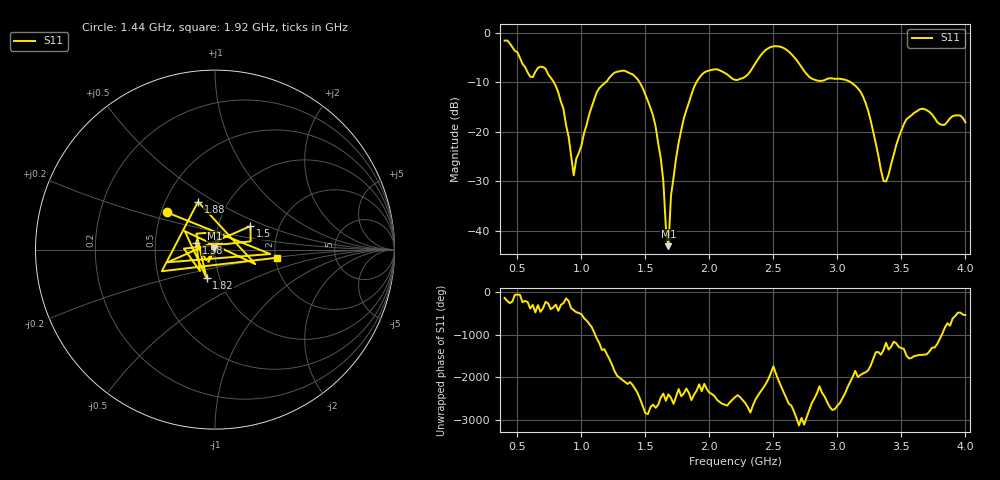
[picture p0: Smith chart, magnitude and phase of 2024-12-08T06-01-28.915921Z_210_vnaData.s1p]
!Created with skrf (http://scikit-rf.org).
# Hz S RI R 50.0
!freq ReS11 ImS11
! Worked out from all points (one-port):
!   181 points, 400 MHz to 4 GHz, reference 50 ohm
!   lowest |S11| = -43.1 dB at 1.68 GHz (marker M1), VSWR 1.01, Z = 49.7 + j0.617 ohm
!   |S11| at or under -10 dB: 784.7 MHz to 1.189 GHz (404 MHz wide, 40.9 % of centre); 1.455 GHz to 1.898 GHz (443.4 MHz wide, 26.4 % of centre); 3.105 GHz to end of sweep
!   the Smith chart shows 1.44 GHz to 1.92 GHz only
!   S11 on the Smith chart (normalised r, x): 1.44 GHz: 0.54, +0.25; 1.5 GHz: 1.43, +0.40; 1.58 GHz: 0.81, +0.06; 1.82 GHz: 0.87, -0.28; 1.88 GHz: 0.72, +0.42; 1.92 GHz: 2.05, -0.21
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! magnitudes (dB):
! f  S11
! 400 MHz  -1.6
! 600 MHz  -8.8
! 720 MHz  -7.2
! 860 MHz  -15.4
! 940 MHz  -28.8
! 1.12 GHz  -12.0
! 1.3 GHz  -7.7
! 1.44 GHz  -9.4
! 1.5 GHz  -12.5
! 1.58 GHz  -19.0
! 1.64 GHz  -30.0
! 1.66 GHz  -39.4
! 1.68 GHz  -43.1
! 1.7 GHz  -32.9
! 1.76 GHz  -22.2
! 1.82 GHz  -15.6
! 1.88 GHz  -11.0
! 1.92 GHz  -9.1
! 2.2 GHz  -9.5
! 2.48 GHz  -2.8
! 2.66 GHz  -4.8
! 2.8 GHz  -9.3
! 3.1 GHz  -9.9
! 3.22 GHz  -14.1
! 3.36 GHz  -29.9
! 3.56 GHz  -17.0
! 3.66 GHz  -15.3
! 4 GHz  -18.1
